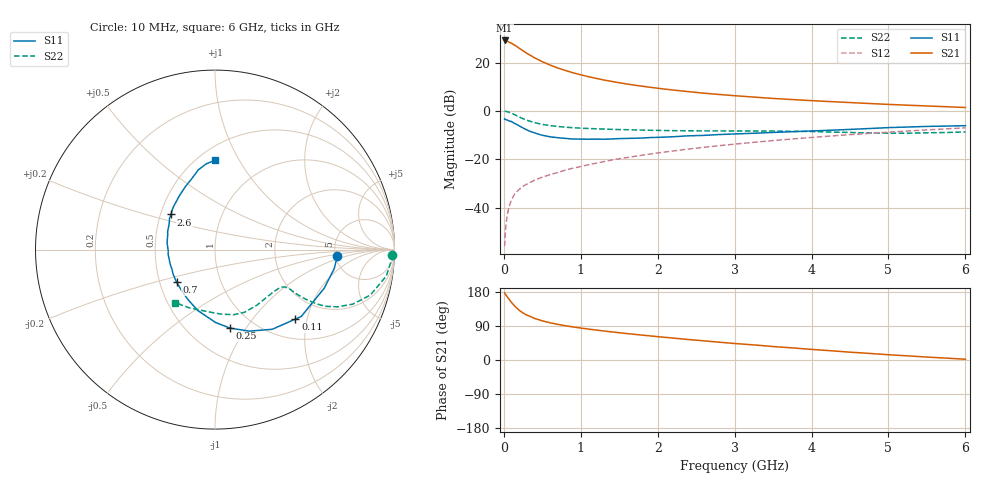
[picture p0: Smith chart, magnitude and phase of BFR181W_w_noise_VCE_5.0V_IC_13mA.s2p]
! Infineon Technologies  Discrete & RF Semiconductors
! BFR181W
! VCE =  5.0 V,  IC =  13 mA
! Common Emitter S-Parameters:  Jan 2017
# GHz  S  MA  R  50
!  f  S11  S21  S12  S22
! GHz  MAG  ANG  MAG  ANG  MAG  ANG  MAG  ANG
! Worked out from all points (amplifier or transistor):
!   77 points, 10 MHz to 6 GHz, reference 50 ohm
!   highest |S21| = 29.2 dB at 10 MHz (marker M1)
!   |S21| within 3 dB of that: start of sweep to 189.6 MHz
!   unconditionally stable (mu >= 1): 889.4 MHz to 2.796 GHz
!   at 130 MHz: K = 0.32, MSG = 31.2 dB, |S12| = -34.9 dB
!   at 2.2 GHz: K = 1.05, MAG = 11.3 dB, |S12| = -16.5 dB
!   at 6 GHz: K = 0.84, MSG = 4.2 dB, |S12| = -7.0 dB
!   lowest NFmin = 1.39 dB at 450 MHz
!   S11 on the Smith chart (normalised r, x): 10 MHz: 5.22, -0.70; 110 MHz: 1.43, -1.70; 250 MHz: 0.78, -0.85; 700 MHz: 0.61, -0.24; 2.6 GHz: 0.57, +0.25; 6 GHz: 0.60, +0.79
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0.01  0.6832 -3.0  28.82 177.2  0.0016 93.0  0.9892 -1.6
0.02  0.6723 -9.2  28.56 173.5  0.0032 92.5  0.9862 -3.2
0.05  0.645 -19.6  27.53 165.1  0.0078 78.4  0.9655 -8.8
0.1  0.6082 -37.8  25.23 151.5  0.0146 75.7  0.9021 -16.3
0.11  0.5922 -40.8  24.63 149.5  0.0157 74.1  0.8862 -17.3
0.15  0.5467 -54.3  22.56 140.4  0.0202 69.3  0.8253 -21.6
0.2  0.4927 -67.2  19.87 131.2  0.0239 67.3  0.7541 -25.0
0.25  0.4453 -79.2  17.57 124.0  0.0279 64.1  0.6942 -27.1
0.3  0.406 -89.6  15.57 118.3  0.0308 62.5  0.6439 -28.1
0.4  0.3527 -105.8  12.61 109.6  0.0371 63.4  0.5744 -28.7
0.5  0.3153 -119.0  10.47 103.3  0.0428 64.2  0.5289 -28.6
0.6  0.2932 -129.9  8.951 98.3  0.0484 64.7  0.4993 -28.3
0.7  0.2806 -139.7  7.785 94.1  0.0534 66.6  0.4786 -27.9
0.9  0.2634 -156.1  6.177 87.2  0.0658 67.6  0.4518 -28.0
1.1  0.261 -168.1  5.135 81.6  0.0774 68.7  0.435 -28.6
1.5  0.2688 173.1  3.842 72.0  0.1029 69.5  0.4132 -31.8
2.1  0.2892 153.1  2.835 59.8  0.1424 68.4  0.3947 -40.2
2.6  0.3133 141.3  2.341 50.5  0.1774 66.5  0.388 -49.0
3.1  0.3397 130.7  2.02 42.1  0.2139 63.8  0.3854 -58.0
4.1  0.3924 113.8  1.609 26.6  0.2918 56.9  0.3727 -76.3
5.1  0.4586 100.6  1.349 12.7  0.3735 48.4  0.347 -101.9
6  0.4972 90.3  1.183 2.0  0.4483 39.8  0.3692 -126.9
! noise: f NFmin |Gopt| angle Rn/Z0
0.45  1.39  0.08  17  0.21
0.9  1.43  0.08  31  0.21
1.9  1.86  0.09  -144  0.21
2.4  2.07  0.11  -109  0.26
